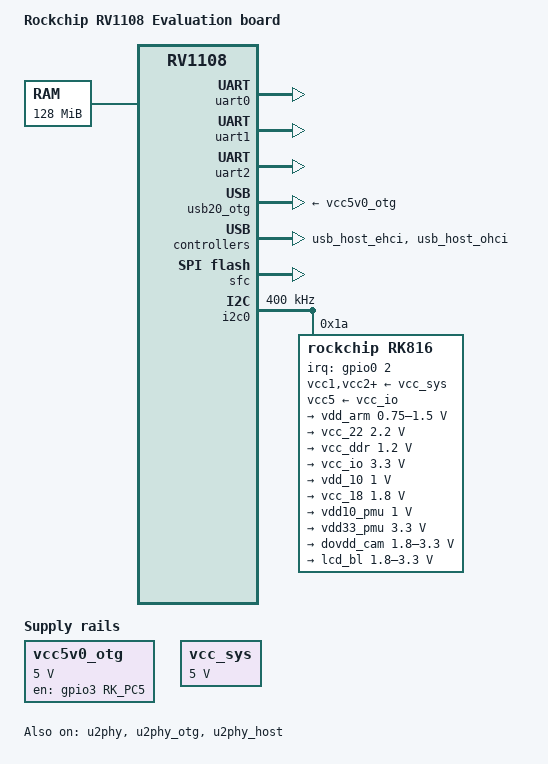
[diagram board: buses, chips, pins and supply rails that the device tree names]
/*
 * (C) Copyright 2016 Rockchip Electronics Co., Ltd
 *
 * SPDX-License-Identifier:     GPL-2.0+
 */

/dts-v1/;

#include "rv1108.dtsi"
#include "rv1108-u-boot.dtsi"
#include "rv1108-sdram-ddr3-400.dtsi"
#include <dt-bindings/input/input.h>

/ {
	model = "Rockchip RV1108 Evaluation board";
	compatible = "rockchip,rv1108-evb", "rockchip,rv1108";

	memory@60000000 {
		device_type = "memory";
		reg = <0x60000000 0x08000000>;
	};

	chosen {
		stdout-path = "serial2:1500000n8";
	};

	vcc5v0_otg: vcc5v0-otg-drv {
		compatible = "regulator-fixed";
		enable-active-high;
		regulator-name = "vcc5v0_otg";
		gpio = <&gpio3 RK_PC5 GPIO_ACTIVE_HIGH>;
		regulator-min-microvolt = <5000000>;
		regulator-max-microvolt = <5000000>;
	};

	vcc_sys: vcc-sys {
		compatible = "regulator-fixed";
		regulator-name = "vcc_sys";
		regulator-min-microvolt = <5000000>;
		regulator-max-microvolt = <5000000>;
		regulator-always-on;
		regulator-boot-on;
	};
};


&u2phy {
	status = "okay";
};

&u2phy_otg {
	status = "okay";
};

&u2phy_host {
	status = "okay";
};

&uart0 {
	status = "okay";
};

&uart1 {
	status = "okay";
};

&uart2 {
	status = "okay";
};

&usb20_otg {
	vbus-supply = <&vcc5v0_otg>;
	status = "okay";
};

&usb_host_ehci {
	status = "okay";
};

&usb_host_ohci {
	status = "okay";
};

&sfc {
	compatible = "rockchip,rksfc";
	status = "okay";
};

&i2c0 {
	i2c-scl-rising-time-ns = <275>;
	i2c-scl-falling-time-ns = <16>;
	clock-frequency = <400000>;
	nack-retry = <1>;
	status = "okay";

	rk816: pmic@1a {
		compatible = "rockchip,rk816";
		reg = <0x1a>;
		interrupt-parent = <&gpio0>;
		interrupts = <2 IRQ_TYPE_LEVEL_LOW>;
		pinctrl-names = "default";
		pinctrl-0 = <&pmic_int_l &pmic_sleep_l>;
		rockchip,system-power-controller;
		wakeup-source;
		gpio-controller;
		#gpio-cells = <2>;
		#clock-cells = <1>;
		clock-output-names = "rk816-clkout1", "rk816-clkout2";
		extcon = <&u2phy>;

		vcc1-supply = <&vcc_sys>;
		vcc2-supply = <&vcc_sys>;
		vcc3-supply = <&vcc_sys>;
		vcc4-supply = <&vcc_sys>;
		vcc5-supply = <&vcc_io>;
		vcc6-supply = <&vcc_sys>;

		gpio {
			status = "okay";
		};

		pwrkey {
			status = "okay";
		};

		rtc {
			status = "okay";
		};
		/*ok*/
		battery {
			compatible = "rk816-battery";
			ocv_table = <3500 3577 3612 3636 3664 3683 3695 3705 
						3714 3728 3742 3761 3785 3814 3847 3878 
						3902 3936 3994 4030 4164>;

			ntc_table = <188500 178600 169200 160400 152100 144300 
						136900 130000 123400 117200 111300 105800 100600 95640 
						90970 86560 82380 78430 74690 71140 67790 64610 61600 
						58740 56030 53460 51030 48710 46520 44430 42450 40570 
						38780 37080 35460 33930 32460 31070 29750 28490 27280 
						26140 25050 24010 23020 22070 21170 20310 19490 18710 
						17960 17250 16570 15910 15290 14700 14130 13590 13070 
						12570 12090 11640 11200 10780 10380 10000 9633 9282 
						8945 8622 8312 8015 7730 7456 7194 6942 6700 6468 
						6245 6031 5826 5628 5438 5255 5080 4911 4749 4592 
						4442 4297 4158 4024 3895 3771 3651 3536 3425 3318 
						3215 3115 3019 2927 2837 2751 2668 2588 2511 2436 
						2364 2295 2227 2163 2100 2039 1981 1924 1869 1817 
						1765 1716 1668 1622 1577 1534 1492 1451 1412 1374 
						1337 1302 1267 1234 1201 1170 1139 1110 1081 1054 
						1027 1001 975 951 927 904 881 860 839 818 798 779 
						760 742 724 707 690 674 658 643 628 613 599 585 
						572 559 547 534>;

			design_capacity = <1970>;
			design_qmax = <2167>;
			bat_res = <165>;
			max_input_current = <2000>;
			max_chrg_current = <1600>;
			max_chrg_voltage = <4200>;
			sleep_enter_current = <300>;
			sleep_exit_current = <300>;
			sleep_filter_current = <100>;
			power_off_thresd = <3500>;
			zero_algorithm_vol = <3950>;
			fb_temperature = <105>;
			sample_res = <20>;
			energy_mode = <1>;
			max_soc_offset = <60>;
			monitor_sec = <5>;
			virtual_power = <0>;
			power_dc2otg = <0>;
			dc_det_adc = <0>;
		};

		regulators {
			/*ok*/
			vdd_arm: DCDC_REG1{
				regulator-name= "vdd_arm";
				regulator-min-microvolt = <750000>;
				regulator-max-microvolt = <1500000>;
				regulator-ramp-delay = <6001>;
				regulator-always-on;
				regulator-boot-on;
				regulator-state-mem {
					regulator-on-in-suspend;
					regulator-suspend-microvolt = <900000>;
				};
			};
			/*ok | witch is used*/
			vcc_22: DCDC_REG2 {
				regulator-name= "vcc_22";
				regulator-min-microvolt = <2200000>;
				regulator-max-microvolt = <2200000>;
				regulator-ramp-delay = <6001>;
				regulator-always-on;
				regulator-boot-on;
				regulator-state-mem {
					regulator-on-in-suspend;
					regulator-suspend-microvolt = <1200000>;
				};
			};

			vcc_ddr: DCDC_REG3 {
				regulator-name = "vcc_ddr";
				regulator-min-microvolt = <1200000>;
				regulator-max-microvolt = <1200000>;
				regulator-always-on;
				regulator-boot-on;
				regulator-state-mem {
					regulator-on-in-suspend;
					regulator-suspend-microvolt = <1200000>;
				};
			};

			vcc_io: DCDC_REG4 {
				regulator-name = "vcc_io";
				regulator-min-microvolt = <3300000>;
				regulator-max-microvolt = <3300000>;
				regulator-always-on;
				regulator-boot-on;
				regulator-state-mem {
					regulator-on-in-suspend;
					regulator-suspend-microvolt = <3000000>;
				};
			};
			/*ok | witch is used*/
			vdd_10: LDO_REG1 {
				regulator-name = "vdd_10";
				regulator-min-microvolt = <1000000>;
				regulator-max-microvolt = <1000000>;
				regulator-always-on;
				regulator-boot-on;
				regulator-state-mem {
					regulator-off-in-suspend;
				};
			};
			/*ok | witch is used*/
			vcc_18: LDO_REG2 {
				regulator-name = "vcc_18";
				regulator-min-microvolt = <1800000>;
				regulator-max-microvolt = <1800000>;
				regulator-always-on;
				regulator-boot-on;
				regulator-state-mem {
					regulator-off-in-suspend;
				};
			};

			vdd10_pmu: LDO_REG3 {
				regulator-name = "vdd10_pmu";
				regulator-min-microvolt = <1000000>;
				regulator-max-microvolt = <1000000>;
				regulator-always-on;
				regulator-boot-on;
				regulator-state-mem {
					regulator-on-in-suspend;
					regulator-suspend-microvolt = <1000000>;
				};
			};

			vdd33_pmu: LDO_REG4 {
				regulator-name= "vdd33_pmu";
				regulator-min-microvolt = <3300000>;
				regulator-max-microvolt = <3300000>;
				regulator-always-on;
				regulator-boot-on;
				regulator-state-mem {
					regulator-on-in-suspend;
					regulator-suspend-microvolt = <3300000>;
				};
			};

			dovdd_cam: LDO_REG5 {
				regulator-name= "dovdd_cam";
				regulator-min-microvolt = <1800000>;
				regulator-max-microvolt = <3300000>;
				regulator-always-on;
				regulator-boot-on;
				regulator-state-mem {
					regulator-off-in-suspend;
				};
			};

			lcd_bl: LDO_REG6 {
				regulator-name= "lcd_bl";
				regulator-min-microvolt = <1800000>;
				regulator-max-microvolt = <3300000>;
				regulator-state-mem {
					regulator-on-in-suspend;
					regulator-suspend-microvolt = <2800000>;
				};
			};
		};
	};
};

&pinctrl {
	pmic {
		pmic_int_l: pmic-int-l {
			rockchip,pins =<0 RK_PB4 RK_FUNC_GPIO &pcfg_pull_up>;
		};
		pmic_sleep_l: pmic-sleep-l {
			rockchip,pins =<0 RK_PB5 RK_FUNC_GPIO &pcfg_pull_down>;
		};
	};
};
